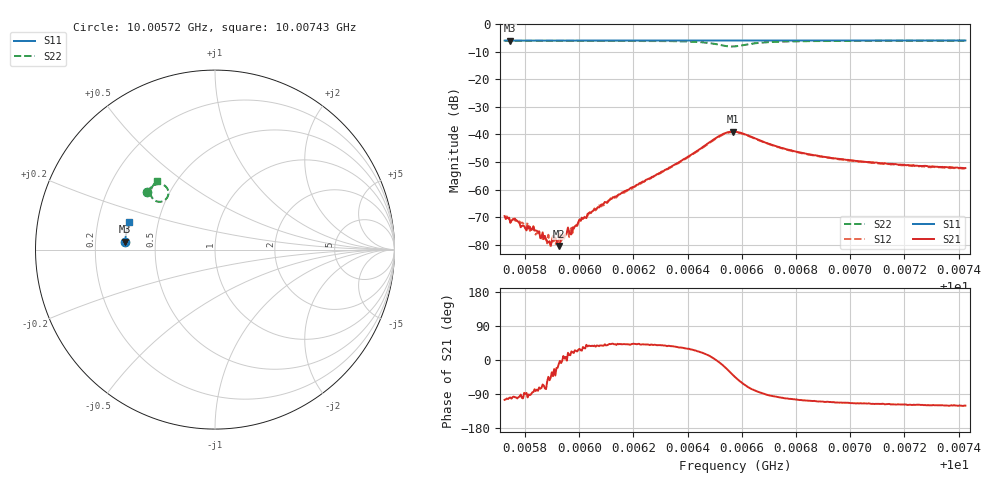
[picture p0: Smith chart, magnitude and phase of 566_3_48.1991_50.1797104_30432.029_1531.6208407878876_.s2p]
#  HZ  S  RI  R  50.00
! Rohde & Schwarz Vector Network Analyzer
! Rohde-Schwarz,ZNB20-2Port,1311601062101988,3.16
! Created: UTC 3/20/2024, 12:01:30 PM
! freq[Hz]  re:S11  im:S11  re:S21  im:S21  re:S12  im:S12  re:S22  im:S22
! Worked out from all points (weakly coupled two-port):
!   401 points, 10.00572 GHz to 10.00743 GHz, reference 50 ohm
!   highest |S21| = -38.98 dB at 10.00657 GHz (marker M1); lowest = -80.4 dB at 10.00592 GHz (marker M2)
!   lowest |S11| = -6.0 dB at 10.00575 GHz (marker M3), VSWR 3.01, Z = 16.6 + j1.99 ohm
!   |S11| at or under -10 dB: nowhere
!   |S22| runs from -8.1 to -6.0 dB; largest |S21 - S12| = 0.00075
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1.0005724e10  -0.4998 0.0435  -8.61e-05 -0.000319  -7.01e-05 -0.000302  -0.3812 0.3193
1.0005746e10  -0.4997 0.0448  -3.87e-05 -0.000245  -3.29e-05 -0.000295  -0.3802 0.3208
1.0005767e10  -0.4997 0.0461  -4.31e-05 -0.000274  -2.21e-05 -0.000276  -0.3791 0.3221
1.0005797e10  -0.4995 0.0482  1.22e-05 -0.000216  -2.72e-05 -0.00022  -0.3776 0.3238
1.0005839e10  -0.4994 0.051  2.49e-05 -0.000178  8.3e-06 -0.000153  -0.3755 0.3264
1.000589e10  -0.4992 0.0543  6.88e-05 -9.27e-05  8.46e-05 -7.86e-05  -0.3728 0.3297
1.0005907e10  -0.499 0.0554  0.000112 -4.93e-05  0.000102 -3.44e-05  -0.3719 0.3308
1.0005916e10  -0.499 0.0559  0.00011 -4.28e-05  0.000104 -3.33e-05  -0.3714 0.3313
1.0005924e10  -0.4989 0.0565  9.38e-05 -1.74e-05  8.4e-05 -6.67e-05  -0.371 0.3317
1.0005941e10  -0.499 0.0576  0.000145 2.69e-05  0.000109 5.26e-05  -0.37 0.3329
1.000595e10  -0.4988 0.0581  0.000154 2.21e-05  0.000154 1.49e-05  -0.3694 0.3336
1.0005971e10  -0.4986 0.0595  0.000142 5.93e-05  0.000184 8.37e-05  -0.3682 0.3349
1.0006009e10  -0.4984 0.0619  0.000281 0.000128  0.000245 0.000159  -0.3658 0.3374
1.0006116e10  -0.4978 0.0688  0.000497 0.000446  0.000483 0.000499  -0.3584 0.3448
1.0006294e10  -0.4963 0.0804  0.00153 0.00126  0.00143 0.0013  -0.3395 0.3588
1.0006519e10  -0.4933 0.0947  0.00945 -0.00129  0.00927 -0.000774  -0.2608 0.3281
1.0006566e10  -0.4929 0.0973  0.00873 -0.00709  0.00896 -0.00637  -0.2777 0.2773
1.0006575e10  -0.4929 0.0978  0.00794 -0.0079  0.00826 -0.00727  -0.2865 0.2715
1.0006668e10  -0.4924 0.1035  0.000506 -0.00773  0.000843 -0.00759  -0.3534 0.2937
1.000686e10  -0.4904 0.1159  -0.00133 -0.00404  -0.00112 -0.00405  -0.3538 0.3416
1.0007144e10  -0.4865 0.1339  -0.00128 -0.00263  -0.00118 -0.00266  -0.337 0.3676
1.0007425e10  -0.4819 0.1516  -0.00124 -0.00212  -0.00117 -0.00215  -0.3219 0.3842
